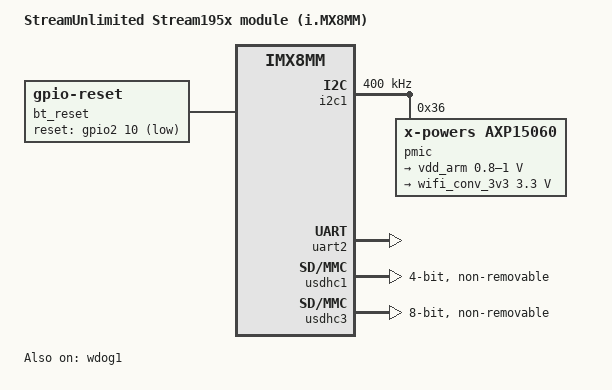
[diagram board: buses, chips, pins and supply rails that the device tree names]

#include "imx8mm-pad.h"
#include "../freescale/imx8mm.dtsi"

/ {
	model = "StreamUnlimited Stream195x module (i.MX8MM)";
	compatible = "sue,stream195x", "fsl,imx8mm";

	bt_reset: modem-reset {
		compatible = "gpio-reset";
		reset-gpios = <&gpio2 10 GPIO_ACTIVE_LOW>;
		reset-delay-us = <2000>;
		reset-post-delay-ms = <40>;
		#reset-cells = <0>;
	};

	simple-busfreq {
		compatible = "sue,simple-busfreq-imx8mm";
		clocks = <&clk IMX8MM_CLK_NOC>,
			 <&clk IMX8MM_CLK_AHB>,
			 <&clk IMX8MM_CLK_MAIN_AXI>,
			 <&clk IMX8MM_CLK_24M>,
			 <&clk IMX8MM_SYS_PLL2_333M>;
		clock-names = "noc_div",
			      "ahb_div",
			      "main_axi_src",
			      "osc_24m",
			      "sys_pll2_333m";
	};
};

&A53_0 {
	arm-supply = <&vdd_arm>;
};

&busfreq {
	/*
	 * Disable the NXP busfreq driver because it is way too overcomplicated for
	 * our needs, instead we will use our own, simple driver.
	 */
	status = "disabled";
};

&crypto {
	status = "disabled";
};

&caam_sm {
	status = "disabled";
};

&i2c1 {
	clock-frequency = <400000>;
	pinctrl-names = "default";
	pinctrl-0 = <&pinctrl_i2c1>;
	status = "okay";

	pmic: axp15060@36 {
		compatible = "x-powers,axp15060";
		reg = <0x36>;

		regulators {
			vdd_arm: dcdc2 {
				regulator-name = "vdd_arm";
				regulator-min-microvolt = <800000>;
				regulator-max-microvolt = <1000000>;
				regulator-boot-on;
				regulator-always-on;
			};

			wifi_conv_3v3: aldo4 {
				regulator-name = "wifi_conv_3v3";
				regulator-min-microvolt = <3300000>;
				regulator-max-microvolt = <3300000>;
				regulator-always-on;
			};
		};
	};
};

&iomuxc {
	imx8mm-s195x-internal {
		pinctrl_i2c1: i2c1grp {
			fsl,pins = <
				MX8MM_IOMUXC_I2C1_SCL_I2C1_SCL			(IOMUX_CONFIG_SION | PAD_CTL_PE_UP | PAD_CTL_HYS | PAD_CTL_FAST | PAD_CTL_DSE6x)
				MX8MM_IOMUXC_I2C1_SDA_I2C1_SDA			(IOMUX_CONFIG_SION | PAD_CTL_PE_UP | PAD_CTL_HYS | PAD_CTL_FAST | PAD_CTL_DSE6x)
			>;
		};

		pinctrl_uart2: uart2grp {
			fsl,pins = <
				MX8MM_IOMUXC_UART2_RXD_UART2_DCE_RX	(PAD_CTL_PE_UP | PAD_CTL_HYS | PAD_CTL_FAST)
				MX8MM_IOMUXC_UART2_TXD_UART2_DCE_TX	(PAD_CTL_PE_UP | PAD_CTL_HYS | PAD_CTL_FAST | PAD_CTL_DSE6x)
				MX8MM_IOMUXC_UART4_RXD_UART2_DCE_CTS_B	(PAD_CTL_PE_UP | PAD_CTL_HYS | PAD_CTL_FAST)
				MX8MM_IOMUXC_UART4_TXD_UART2_DCE_RTS_B	(PAD_CTL_PE_DOWN | PAD_CTL_HYS | PAD_CTL_FAST | PAD_CTL_DSE6x)
				MX8MM_IOMUXC_SD1_RESET_B_GPIO2_IO10	(PAD_CTL_PE_UP | PAD_CTL_HYS)	/* WLAN_BT_REG_ON */
				MX8MM_IOMUXC_SD1_STROBE_GPIO2_IO11	(PAD_CTL_PE_UP | PAD_CTL_HYS)	/* BT_HOST_WAKE */
			>;
		};

		pinctrl_usdhc1: usdhc1grp {
			fsl,pins = <
				MX8MM_IOMUXC_SD1_CLK_USDHC1_CLK		(PAD_CTL_PE_DOWN | PAD_CTL_SLOW | PAD_CTL_DSE1x)
				MX8MM_IOMUXC_SD1_CMD_USDHC1_CMD		(PAD_CTL_PE_UP | PAD_CTL_FAST | PAD_CTL_DSE6x)
				MX8MM_IOMUXC_SD1_DATA0_USDHC1_DATA0	(PAD_CTL_PE_UP | PAD_CTL_HYS | PAD_CTL_FAST | PAD_CTL_DSE6x)
				MX8MM_IOMUXC_SD1_DATA1_USDHC1_DATA1	(PAD_CTL_PE_UP | PAD_CTL_HYS | PAD_CTL_FAST | PAD_CTL_DSE6x)
				MX8MM_IOMUXC_SD1_DATA2_USDHC1_DATA2	(PAD_CTL_PE_UP | PAD_CTL_HYS | PAD_CTL_FAST | PAD_CTL_DSE6x)
				MX8MM_IOMUXC_SD1_DATA3_USDHC1_DATA3	(PAD_CTL_PE_UP | PAD_CTL_HYS | PAD_CTL_FAST | PAD_CTL_DSE6x)
			>;
		};

		pinctrl_usdhc3: usdhc3grp {
			fsl,pins = <
				MX8MM_IOMUXC_NAND_WE_B_USDHC3_CLK		0x190
				MX8MM_IOMUXC_NAND_WP_B_USDHC3_CMD		0x1d0
				MX8MM_IOMUXC_NAND_DATA04_USDHC3_DATA0		0x1d0
				MX8MM_IOMUXC_NAND_DATA05_USDHC3_DATA1		0x1d0
				MX8MM_IOMUXC_NAND_DATA06_USDHC3_DATA2		0x1d0
				MX8MM_IOMUXC_NAND_DATA07_USDHC3_DATA3		0x1d0
				MX8MM_IOMUXC_NAND_RE_B_USDHC3_DATA4		0x1d0
				MX8MM_IOMUXC_NAND_CE2_B_USDHC3_DATA5		0x1d0
				MX8MM_IOMUXC_NAND_CE3_B_USDHC3_DATA6		0x1d0
				MX8MM_IOMUXC_NAND_CLE_USDHC3_DATA7		0x1d0
				MX8MM_IOMUXC_NAND_CE1_B_USDHC3_STROBE 		0x190
			>;
		};

		pinctrl_usdhc3_100mhz: usdhc3grp100mhz {
			fsl,pins = <
				MX8MM_IOMUXC_NAND_WE_B_USDHC3_CLK		0x194
				MX8MM_IOMUXC_NAND_WP_B_USDHC3_CMD		0x1d4
				MX8MM_IOMUXC_NAND_DATA04_USDHC3_DATA0		0x1d4
				MX8MM_IOMUXC_NAND_DATA05_USDHC3_DATA1		0x1d4
				MX8MM_IOMUXC_NAND_DATA06_USDHC3_DATA2		0x1d4
				MX8MM_IOMUXC_NAND_DATA07_USDHC3_DATA3		0x1d4
				MX8MM_IOMUXC_NAND_RE_B_USDHC3_DATA4		0x1d4
				MX8MM_IOMUXC_NAND_CE2_B_USDHC3_DATA5		0x1d4
				MX8MM_IOMUXC_NAND_CE3_B_USDHC3_DATA6		0x1d4
				MX8MM_IOMUXC_NAND_CLE_USDHC3_DATA7		0x1d4
				MX8MM_IOMUXC_NAND_CE1_B_USDHC3_STROBE 		0x194
			>;
		};

		pinctrl_usdhc3_200mhz: usdhc3grp200mhz {
			fsl,pins = <
				MX8MM_IOMUXC_NAND_WE_B_USDHC3_CLK		0x196
				MX8MM_IOMUXC_NAND_WP_B_USDHC3_CMD		0x1d6
				MX8MM_IOMUXC_NAND_DATA04_USDHC3_DATA0		0x1d6
				MX8MM_IOMUXC_NAND_DATA05_USDHC3_DATA1		0x1d6
				MX8MM_IOMUXC_NAND_DATA06_USDHC3_DATA2		0x1d6
				MX8MM_IOMUXC_NAND_DATA07_USDHC3_DATA3		0x1d6
				MX8MM_IOMUXC_NAND_RE_B_USDHC3_DATA4		0x1d6
				MX8MM_IOMUXC_NAND_CE2_B_USDHC3_DATA5		0x1d6
				MX8MM_IOMUXC_NAND_CE3_B_USDHC3_DATA6		0x1d6
				MX8MM_IOMUXC_NAND_CLE_USDHC3_DATA7		0x1d6
				MX8MM_IOMUXC_NAND_CE1_B_USDHC3_STROBE 		0x196
			>;
		};

		pinctrl_wdog: wdoggrp {
			fsl,pins = <
				MX8MM_IOMUXC_GPIO1_IO02_WDOG1_WDOG_B	(PAD_CTL_PE_UP | PAD_CTL_HYS | PAD_CTL_DSE6x)
			>;
		};

		pinctrl_wifi: wifigrp {
			fsl,pins = <
				MX8MM_IOMUXC_SD1_DATA5_GPIO2_IO7	(PAD_CTL_PE_UP | PAD_CTL_HYS)	/* WIFI_IRQ (OOB) */
				MX8MM_IOMUXC_SD1_DATA6_GPIO2_IO8	(PAD_CTL_PE_UP | PAD_CTL_HYS)	/* WLAN_WL_REG_ON */
				MX8MM_IOMUXC_SD1_DATA7_GPIO2_IO9	(PAD_CTL_PE_UP | PAD_CTL_HYS)	/* WLAN_HOST_WAKE */
			>;
		};
	};
};

&uart2 {
	pinctrl-names = "default";
	pinctrl-0 = <&pinctrl_uart2>;
	uart-has-rtscts;
	assigned-clocks = <&clk IMX8MM_CLK_UART2>;
	assigned-clock-parents = <&clk IMX8MM_SYS_PLL1_80M>;
	/* TODO: Make sure the reset gets toggled on boot */
	resets= <&bt_reset>;
	status = "okay";
};

&usdhc1 {
	/* TODO: check if we maybe need different pinctrl settings for the different speeds */
	pinctrl-names = "default", "state_100mhz", "state_200mhz";
	pinctrl-0 = <&pinctrl_usdhc1>, <&pinctrl_wifi>;
	pinctrl-1 = <&pinctrl_usdhc1>, <&pinctrl_wifi>;
	pinctrl-2 = <&pinctrl_usdhc1>, <&pinctrl_wifi>;
	bus-width = <4>;
	pm-ignore-notify;
	keep-power-in-suspend;
	non-removable;

	/*
	 * This configures the SDIO clocks to run at 187.5 MHz instead of the
	 * default 200 MHz. Main reason is the reduction of EMI by the SDIO
	 * clock.
	 */
	assigned-clocks = <&clk IMX8MM_CLK_USDHC1>;
	assigned-clock-parents = <&clk IMX8MM_SYS_PLL3_OUT>;
	assigned-clock-rates = <375000000>;

	status = "okay";
};

&usdhc3 {
	pinctrl-names = "default", "state_100mhz", "state_200mhz";
	pinctrl-0 = <&pinctrl_usdhc3>;
	pinctrl-1 = <&pinctrl_usdhc3_100mhz>;
	pinctrl-2 = <&pinctrl_usdhc3_200mhz>;
	bus-width = <8>;
	non-removable;
	status = "okay";
};

&wdog1 {
	pinctrl-names = "default";
	pinctrl-0 = <&pinctrl_wdog>;
	fsl,ext-reset-output;
	status = "okay";
};
